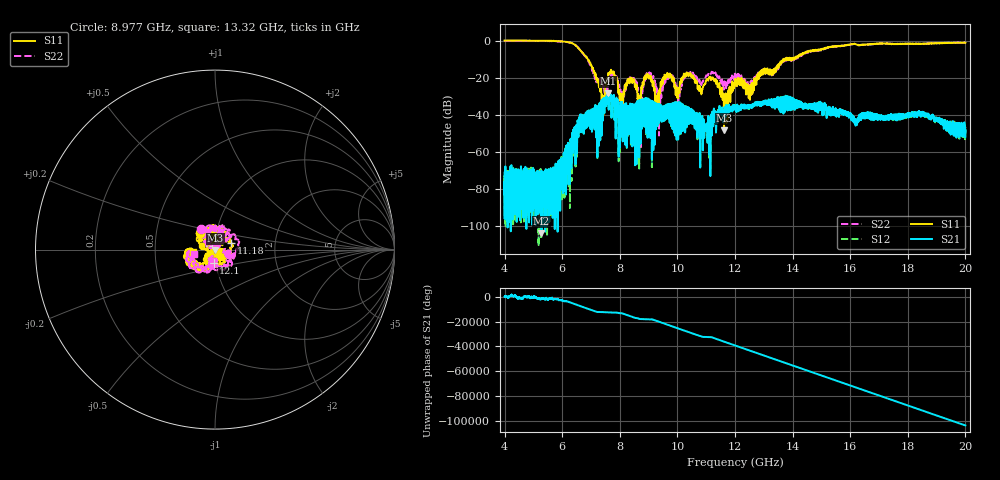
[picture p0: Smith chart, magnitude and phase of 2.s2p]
[Version] 2.0
! Rohde & Schwarz Vector Network Analyzer
! Rohde-Schwarz,ZNL20-2Port,1323001220200009,1.71.1.10-23.02.1.238
! Port Assignments:
! Nominal Port -> Actual Test Port
!  1 -> 1
!  2 -> 2
! Created: GMT+2 2025-01-16 20:20:33
# Hz S RI R 50
[Number of Ports] 2
[Two-Port Data Order] 21_12
! freq[Hz]  S11[Re]  S11[Im]  S21[Re]  S21[Im]  S12[Re]  S12[Im]  S22[Re]  S22[Im]
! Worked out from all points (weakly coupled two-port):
!   16001 points, 4 GHz to 20 GHz, reference 50 ohm
!   highest |S21| = -28.35 dB at 7.59 GHz (marker M1); lowest = -104.0 dB at 5.279 GHz (marker M2)
!   lowest |S11| = -48.3 dB at 11.62 GHz (marker M3), VSWR 1.01, Z = 50.2 - j0.353 ohm
!   |S11| at or under -10 dB: 6.889 GHz to 13.7 GHz (6.812 GHz wide, 66.2 % of centre); 13.71502 GHz to 13.74345 GHz (28.43 MHz wide, 0.207 % of centre); 13.9434 GHz to 13.96748 GHz (24.08 MHz wide, 0.173 % of centre) (the widest 3 of 9)
!   |S22| runs from -57.5 to 0.0 dB; largest |S21 - S12| = 0.0024
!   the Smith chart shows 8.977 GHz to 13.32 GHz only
!   S11 on the Smith chart (normalised r, x): 8.977 GHz: 0.83, +0.15; 11.18 GHz: 1.19, +0.09; 12.1 GHz: 0.97, -0.15; 13.32 GHz: 0.78, -0.02
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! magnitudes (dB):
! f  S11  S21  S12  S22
! 4 GHz  0.0  -82.8  -72.8  -0.2
! 5.279 GHz  -0.1  -104.0  -73.9  -0.3
! 5.813 GHz  -0.3  -67.5  -82.8  -0.4
! 6.667 GHz  -5.9  -42.1  -41.8  -6.0
! 7.401 GHz  -29.6  -33.8  -33.8  -22.0
! 7.59 GHz  -19.0  -28.3  -28.4  -22.7
! 7.809 GHz  -18.9  -37.3  -37.2  -19.5
! 8.064 GHz  -34.2  -36.5  -36.6  -28.4
! 8.428 GHz  -22.9  -43.0  -43.0  -21.7
! 8.712 GHz  -34.0  -36.7  -36.6  -37.6
! 8.977 GHz  -18.1  -35.4  -35.4  -17.4
! 9.334 GHz  -28.3  -34.2  -34.3  -30.8
! 9.623 GHz  -19.8  -35.3  -35.2  -20.8
! 10.05 GHz  -25.7  -33.2  -33.3  -27.8
! 11.18 GHz  -20.3  -42.7  -42.5  -17.0
! 11.62 GHz  -48.3  -38.1  -38.1  -24.1
! 12 GHz  -20.8  -36.2  -36.2  -18.4
! 12.1 GHz  -22.4  -38.0  -37.9  -19.6
! 13.32 GHz  -18.1  -32.5  -32.6  -18.3
! 14.67 GHz  -5.5  -34.6  -34.5  -5.8
! 17.33 GHz  -1.8  -40.5  -41.2  -1.8
! 20 GHz  -1.2  -49.5  -47.0  -1.1
